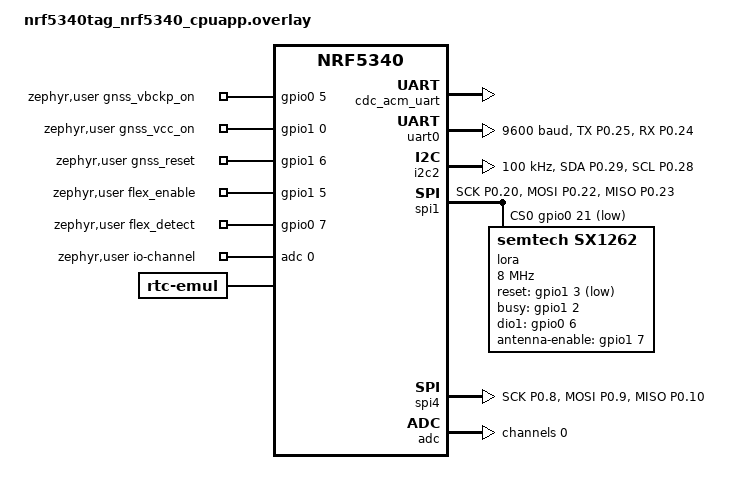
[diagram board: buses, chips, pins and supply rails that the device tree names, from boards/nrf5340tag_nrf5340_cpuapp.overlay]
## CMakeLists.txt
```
#
# Copyright (c) 2020 Nordic Semiconductor ASA
#
# SPDX-License-Identifier: LicenseRef-Nordic-5-Clause
#
cmake_minimum_required(VERSION 3.20.0)

find_package(Zephyr REQUIRED HINTS $ENV{ZEPHYR_BASE})

project(openthread_cli)

# NORDIC SDK APP START
target_sources(app PRIVATE  src/main.c 
                            src/utils.c
                            src/mqttsn.c
                            src/gpio.c
                            src/leds.c
                            src/nvs.c
                            src/flexstrap.c
                            src/acc.c
                            src/openthread_client.c
                            src/lorawan_client.c
                            src/gpsparser.c
                            src/minmea.c
                            src/app_bluetooth.c
                            src/bluetooth/lns_client.c)
# NORDIC SDK APP END

target_sources_ifdef(CONFIG_CLI_SAMPLE_LOW_POWER app PRIVATE src/low_power.c)
```

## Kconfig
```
#
# Copyright (c) 2020 Nordic Semiconductor ASA
#
# SPDX-License-Identifier: LicenseRef-Nordic-5-Clause
#

menu "Zephyr Kernel"
source "Kconfig.zephyr"
endmenu

# Configure OT CLI main

module = OT_COMMAND_LINE_INTERFACE
module-str = ot_cli
source "${ZEPHYR_BASE}/subsys/logging/Kconfig.template.log_config"

config CLI_SAMPLE_LOW_POWER
	bool "Enable low power mode for the CLI sample"

config WAIT_FOR_CLI_CONNECTION
	bool "Wait for a connection on USB/serial before booting"
	default y
	
# Configure MQTT-SN Client

module = MQTT_SNCLIENT
module-str = mqtt-snclient
source "${ZEPHYR_BASE}/subsys/logging/Kconfig.template.log_config"

config MQTT_SNCLIENT_TOPIC_PREFIX
	string "Topic Prefix for subscriptions/publications"
	help
		Topic Prefix for subscriptions/publications
	default "sensors"

config MQTT_SNCLIENT_PUBLISH_INTERVAL_S
	int "Publication interval in ms"
	default 10000

config MQTT_SNCLIENT_PORT
	int "MQTT-SN client UDP port"
	default 10000

config MQTT_SNCLIENT_PREFIX
	string "Prefix for client ID when connecting"
	default "tc-"

config MQTT_SNCLIENT_GATEWAY_PORT
	int "Target gateway multicast port"
	default 10000

config MQTT_SNCLIENT_GATEWAY_ADDRESS
	string  "Target gateway multicast address"
	default "ff03::1"

config MQTT_SNCLIENT_HOPS
	int "Max number of hops"
	default 8

# Configure Bluetooth LNS scanner

module = LNS_CLIENT
module-str = lns-client
source "${ZEPHYR_BASE}/subsys/logging/Kconfig.template.log_config"

# Configure Bluetooth Application code
module = APP_BLUETOOTH
module-str = app-bluetooth
source "${ZEPHYR_BASE}/subsys/logging/Kconfig.template.log_config"

# Deal with some OpenThread configuration problems
config OPENTHREAD_WORKING_PANID
	hex "Default PAN ID (config fix)"
	default 0x1234

# Configure GPS

module = GPS_PARSER
module-str = gps-parser
source "${ZEPHYR_BASE}/subsys/logging/Kconfig.template.log_config"

# Configure LoRaWAN Client

module = LORAWAN_CLIENT
module-str = lorawan-client
source "${ZEPHYR_BASE}/subsys/logging/Kconfig.template.log_config"

# Configure FlexStrap

config FLEXSTRAP_CONTROLS_POWER
	bool "Enable handling of FlexStrap to control whether we transmit or not"

config FLEXSTRAP_PULL_DOWN
	bool "Enable pull down on FlexStrap - for non FlexStrap enabled boards"
	default y

config FIRMWARE_REBOOT
	bool "Enable firmware reboot to ensure device stays up"
	
```

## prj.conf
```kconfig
#
# Copyright (c) 2020 Nordic Semiconductor
#
# SPDX-License-Identifier: LicenseRef-Nordic-5-Clause
#

# Network shell
CONFIG_SHELL=y
CONFIG_SHELL_ARGC_MAX=26
CONFIG_SHELL_CMD_BUFF_SIZE=416

CONFIG_NET_L2_OPENTHREAD=y

# Generic networking options
CONFIG_NETWORKING=y

CONFIG_MBEDTLS_SHA1_C=n
CONFIG_FPU=y

# Matter build not working...
#CONFIG_CHIP=y
#CONFIG_CHIP_LIB_SHELL=

# OpenThread

CONFIG_OPENTHREAD_SHELL=y

# Default mesh settings

# NOTE: We are using our own Kconfig for PAN ID as the Openthread
#       one seems to break with numbers that are too big like 0x4444
#       Maybe it's treating it as byte somewhere ???
CONFIG_OPENTHREAD_PANID=42104
CONFIG_OPENTHREAD_WORKING_PANID=0x4444
CONFIG_OPENTHREAD_XPANID="33:33:33:33:44:44:44:44"
CONFIG_OPENTHREAD_NETWORK_NAME="INST"
CONFIG_OPENTHREAD_NETWORKKEY="33:33:44:44:33:33:44:44:33:33:44:44:33:33:44:44"
CONFIG_OPENTHREAD_CHANNEL=15

# This needs to be false for the above settings to take effect inside OpenThread
# But then we seem to have problems with the PANID so instead use our own
# programmatic code in main.c which is called by setting this to 'y'
#CONFIG_OPENTHREAD_MANUAL_START=y

CONFIG_OPENTHREAD_UPTIME=y

# MQTT-SNCLIENT
CONFIG_MQTT_SNCLIENT_TOPIC_PREFIX="ot"

# Bluetooth ---

# NEED TO SET THIS UNIQUELY IN APPLICATION
CONFIG_BT_DEVICE_NAME="nRF528xx"

CONFIG_BT=y
#CONFIG_BT_DEBUG_LOG=y
CONFIG_BT_CENTRAL=y
CONFIG_BT_SMP=y
CONFIG_BT_GATT_CLIENT=y
CONFIG_BT_GATT_DM=y
CONFIG_HEAP_MEM_POOL_SIZE=4096
CONFIG_BT_BAS_CLIENT=n

CONFIG_BT_SCAN=y
CONFIG_BT_SCAN_FILTER_ENABLE=y
CONFIG_BT_SCAN_UUID_CNT=1
CONFIG_BT_PRIVACY=y

CONFIG_BT_SETTINGS=y
CONFIG_FLASH=y
CONFIG_FLASH_PAGE_LAYOUT=y
CONFIG_FLASH_MAP=y
CONFIG_NVS=y
CONFIG_SETTINGS=y

# For this to work in the app we need to increase the
# main stack size
CONFIG_MAIN_STACK_SIZE=4096

# End Bluetooth ---

# Drivers

# Support temperature sensor (not on nrf5340)
#CONFIG_NRFX_TEMP=y

# TODO: Support USB update without booting into DFU mode
#CONFIG_STREAM_FLASH=y
#CONFIG_IMG_MANAGER=y
#CONFIG_USB_DFU_CLASS=y
#CONFIG_USB_DFU_REBOOT=y

# Trying to sort out Multiprotocol
# (This breaks on v2.9.1)
#CONFIG_MPSL=y
#CONFIG_MPSL_ASSERT_HANDLER=y
#CONFIG_MPSL_LOG_LEVEL_DBG=y
#CONFIG_MPSL_WORK_STACK_SIZE=4096

# Logging
CONFIG_LOG=y
# Don't defer as when things break badly we want to have a chance
# of seeing errors...
CONFIG_LOG_PROCESS_THREAD=y
CONFIG_LOG_MODE_DEFERRED=n
#CONFIG_LOG_MAX_LEVEL=4
##CONFIG_OPENTHREAD_DEBUG=y
##CONFIG_OPENTHREAD_L2_DEBUG=y
#CONFIG_OPENTHREAD_LOG_LEVEL_WARN=y
##CONFIG_OPENTHREAD_LOG_LEVEL_DEBG=y

# Logging modules
CONFIG_OT_COMMAND_LINE_INTERFACE_LOG_LEVEL_INF=y
# CONFIG_MQTT_SNCLIENT_LOG_LEVEL_DBG=y
CONFIG_LNS_CLIENT_LOG_LEVEL_DBG=y

# Enable OpenThread features set
#CONFIG_OPENTHREAD_MTD=y
CONFIG_OPENTHREAD_FTD=y
#CONFIG_OPENTHREAD_SLAAC=y

# Minimise size
#CONFIG_NET_SOCKETS=n
#CONFIG_OPENTHREAD_SHELL=n
#CONFIG_COAP=n
#CONFIG_COAP_UTILS=n
#CONFIG_OPENTHREAD_COAP=n

#CONFIG_NRF_802154_SER_LOG=y

#CONFIG_ASSERT=y

#CONFIG_ISR_STACK_SIZE=4096
#CONFIG_IDLE_STACK_SIZE=1024
#CONFIG_BT_RX_STACK_SIZE=4096
#CONFIG_SHELL_STACK_SIZE=8192
#CONFIG_NET_RX_STACK_SIZE=4096
#CONFIG_NET_TX_STACK_SIZE=4096
#CONFIG_MPSL_WORK_STACK_SIZE=4096
#CONFIG_PRIVILEGED_STACK_SIZE=2048
CONFIG_SYSTEM_WORKQUEUE_STACK_SIZE=8192
#CONFIG_OPENTHREAD_RADIO_WORKQUEUE_STACK_SIZE=4096
#CONFIG_IPC_SERVICE_BACKEND_RPMSG_WQ_STACK_SIZE=2048

# Wait for serial console or start up straight away
CONFIG_WAIT_FOR_CLI_CONNECTION=n

# Enable multithread support in gdb
CONFIG_DEBUG=y
CONFIG_THREAD_MONITOR=y
CONFIG_THREAD_STACK_INFO=y
CONFIG_TIMESLICING=n
CONFIG_THREAD_NAME=y
CONFIG_DEBUG_THREAD_INFO=y
CONFIG_OPENTHREAD_SOURCES=y

# Enable asserts
#CONFIG_ASSERT=y
#CONFIG_ASSERT_NO_COND_INFO=y

# Bluetooth
#CONFIG_APP_BLUETOOTH_LOG_LEVEL_DBG=y
#CONFIG_BT_SCAN_LOG_LEVEL_DBG=y
#CONFIG_BT_HCI_CORE_LOG_LEVEL_DBG=y
CONFIG_BT_EXT_ADV=y
CONFIG_BT_RX_STACK_SIZE=4096

# This causes a build failure with v2.9.1
#CONFIG_BT_HCI_TX_STACK_SIZE=4096
CONFIG_BT_HCI_ACL_FLOW_CONTROL=y
#CONFIG_NET_BUF_LOG=y
#CONFIG_NET_BUF_LOG_LEVEL_DBG=y
#CONFIG_NET_BUF_SIMPLE_LOG=y
#CONFIG_NET_BUF_POOL_USAGE=y

# LORA 
CONFIG_SPI=y
CONFIG_LORA=y
CONFIG_LORA_SHELL=y
CONFIG_LORAWAN=y
CONFIG_LORA_SX126X=y
CONFIG_LORAMAC_REGION_EU868=y
CONFIG_MPU_ALLOW_FLASH_WRITE=y

# LoRaWAN Debugging
#CONFIG_LORA_LOG_LEVEL_DBG=y
#CONFIG_LORAWAN_LOG_LEVEL_DBG=y
CONFIG_LORAWAN_CLIENT_LOG_LEVEL_DBG=y

# GPS
#CONFIG_GPS_PARSER_LOG_LEVEL_DBG=y

# Accelerometer (needs v2.9.1)
#CONFIG_SENSOR=y
#CONFIG_SENSOR_LOG_LEVEL_DBG=y
#CONFIG_LSM6DSO16IS=y
#CONFIG_CBPRINTF_FP_SUPPORT=y

# I2C analysis support
CONFIG_I2C=y
CONFIG_I2C_LOG_LEVEL_DBG=y
CONFIG_I2C_SHELL=y

# ADC analysis support
CONFIG_ADC=y
CONFIG_ADC_LOG_LEVEL_DBG=y
CONFIG_ADC_SHELL=y

# Regulator analysis support
#CONFIG_REGULATOR=y
#CONFIG_REGULATOR_LOG_LEVEL_DBG=y
#CONFIG_REGULATOR_SHELL=y

# GPIO analysis support
#CONFIG_GPIO=y
#CONFIG_GPIO_LOG_LEVEL_DBG=y
#CONFIG_GPIO_SHELL=y

# LED analysis support
CONFIG_LED=y
#CONFIG_LED_LOG_LEVEL_DBG=y
#CONFIG_LED_SHELL=y

# Handle FlexStrap Reading
CONFIG_FLEXSTRAP_CONTROLS_POWER=y
CONFIG_FLEXSTRAP_PULL_DOWN=y

# Reboot device for reliability
CONFIG_FIRMWARE_REBOOT=y

# Disable UART logging backend
#CONFIG_UART_CONSOLE=n
#CONFIG_SHELL_LOG_BACKEND=n

# Debugging Logging Back End
#CONFIG_LOG_BACKEND_RTT=y
#CONFIG_USE_SEGGER_RTT=y

# USB output (debugging
CONFIG_SHELL_BACKEND_SERIAL_INIT_PRIORITY=51
CONFIG_UART_LINE_CTRL=y
CONFIG_SHELL_BACKEND_SERIAL_CHECK_DTR=y
CONFIG_USB_CDC_ACM_LOG_LEVEL_OFF=y
CONFIG_USB_DEVICE_STACK=y
CONFIG_USB_DEVICE_REMOTE_WAKEUP=n
CONFIG_USB_DEVICE_MANUFACTURER="Dynamic Devices Ltd"
CONFIG_USB_DEVICE_PRODUCT="INST TAG"
CONFIG_USB_DEVICE_VID=0x1915
CONFIG_USB_DEVICE_PID=0x0000
CONFIG_USB_DEVICE_INITIALIZE_AT_BOOT=n

CONFIG_RTC=y
CONFIG_RTC_EMUL=y
```

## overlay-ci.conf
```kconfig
#
# Copyright (c) 2022 Nordic Semiconductor
#
# SPDX-License-Identifier: LicenseRef-Nordic-5-Clause
#

# Disable boot banner
CONFIG_BOOT_BANNER=n

# Shell configuration for CI
CONFIG_SHELL_PROMPT_UART="tag:~$ "
CONFIG_SHELL_VT100_COLORS=y
CONFIG_SHELL_DEFAULT_TERMINAL_WIDTH=618
```

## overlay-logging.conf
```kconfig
#
# Copyright (c) 2021 Nordic Semiconductor
#
# SPDX-License-Identifier: LicenseRef-Nordic-5-Clause
# Enable Zephyr logging
CONFIG_LOG=y

# Use separate thread for logging
CONFIG_LOG_MODE_DEFERRED=y

# Increase max log level to informative
CONFIG_LOG_MAX_LEVEL=3

# Option for configuring log level in this sample
CONFIG_OT_COMMAND_LINE_INTERFACE_LOG_LEVEL_INF=y

# Enable net module logging
# CONFIG_NET_LOG=y
# Option for configuring log level in net config library
# CONFIG_NET_CONFIG_LOG_LEVEL_INF=y

# Option for configuring log level in Zephyr L2 logging
# CONFIG_OPENTHREAD_L2_DEBUG=y
# CONFIG_OPENTHREAD_L2_LOG_LEVEL_DBG=y
# CONFIG_OPENTHREAD_L2_DEBUG_DUMP_15_4=y
# CONFIG_OPENTHREAD_L2_DEBUG_DUMP_IPV6=y

# Enable OpenThread logging
CONFIG_OPENTHREAD_DEBUG=y
# Option for configuring log level in OpenThread
CONFIG_OPENTHREAD_LOG_LEVEL_INFO=y

# Enable RTT logging backend
CONFIG_USE_SEGGER_RTT=y
CONFIG_LOG_BACKEND_RTT=y

# Disable UART logging backend
# CONFIG_LOG_BACKEND_UART=n
CONFIG_SHELL_LOG_BACKEND=n

OPENTHREAD_CONFIG_MQTTSN_ENABLE=y
```

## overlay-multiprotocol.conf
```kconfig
#
# Copyright (c) 2022 Nordic Semiconductor
#
# SPDX-License-Identifier: LicenseRef-Nordic-5-Clause
#

CONFIG_SYSTEM_WORKQUEUE_STACK_SIZE=2144
#CONFIG_SYSTEM_WORKQUEUE_STACK_SIZE=4096

# Enable and configure Bluetooth LE
CONFIG_BT=y
CONFIG_BT_PERIPHERAL=y
#CONFIG_BT_DEVICE_NAME="NCS DUT"
CONFIG_BT_DEVICE_APPEARANCE=833
```

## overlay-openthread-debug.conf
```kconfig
#
# Copyright (c) 2022 Nordic Semiconductor
#
# SPDX-License-Identifier: LicenseRef-Nordic-5-Clause
#

CONFIG_LOG=y 
CONFIG_OPENTHREAD_DEBUG=y
CONFIG_OPENTHREAD_LOG_LEVEL_INFO=y
```

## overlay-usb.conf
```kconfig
#
# Copyright (c) 2021 Nordic Semiconductor
#
# SPDX-License-Identifier: LicenseRef-Nordic-5-Clause
#

CONFIG_SHELL_BACKEND_SERIAL_INIT_PRIORITY=51

CONFIG_UART_LINE_CTRL=y
CONFIG_SHELL_BACKEND_SERIAL_CHECK_DTR=y
CONFIG_USB_CDC_ACM_LOG_LEVEL_OFF=y

CONFIG_USB_DEVICE_STACK=y
CONFIG_USB_DEVICE_REMOTE_WAKEUP=n
CONFIG_USB_DEVICE_MANUFACTURER="Nordic Semiconductor ASA"
CONFIG_USB_DEVICE_PRODUCT="INST TAG"
CONFIG_USB_DEVICE_VID=0x1915
CONFIG_USB_DEVICE_PID=0x0000
CONFIG_USB_DEVICE_INITIALIZE_AT_BOOT=n
```

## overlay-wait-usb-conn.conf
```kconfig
#
# Copyright (c) 2022 Nordic Semiconductor
#
# SPDX-License-Identifier: LicenseRef-Nordic-5-Clause
#

# This waits until a USB connection is established
# before starting up which is useful for debugging
# but not wanted for field testing
CONFIG_WAIT_FOR_CLI_CONNECTION=y
```

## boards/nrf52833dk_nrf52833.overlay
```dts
/* Copyright (c) 2020 Nordic Semiconductor ASA
 *
 * SPDX-License-Identifier: LicenseRef-Nordic-5-Clause
 */

&temp {
    status = "okay";
};

&uart0 {
	status = "okay";
	hw-flow-control;
};

&flash0 {

	partitions {
		compatible = "fixed-partitions";
		#address-cells = <1>;
		#size-cells = <1>;

		storage_partition: partition@7a000 {
			label = "storage";
			reg = <0x0007C000 0x4000>;
		};
	};
};
```

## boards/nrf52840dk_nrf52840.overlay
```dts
/* Copyright (c) 2020 Nordic Semiconductor ASA
 *
 * SPDX-License-Identifier: LicenseRef-Nordic-5-Clause
 */

&temp {
    status = "okay";
};

&uart0 {
	status = "okay";
	hw-flow-control;
};

/ {
	/*
	* In some default configurations within the nRF Connect SDK,
	* e.g. on nRF52840, the chosen zephyr,entropy node is &cryptocell.
	* This devicetree overlay ensures that default is overridden wherever it
	* is set, as this application uses the RNG node for entropy exclusively.
	*/
	chosen {
		zephyr,entropy = &rng;
	};
};
```

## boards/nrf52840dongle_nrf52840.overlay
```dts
/* Copyright (c) 2021 Nordic Semiconductor ASA
 *
 * SPDX-License-Identifier: LicenseRef-Nordic-5-Clause
 */

 #include <zephyr/dt-bindings/lora/sx126x.h>

&temp {
    status = "okay";
};

/ {
	/*
	* In some default configurations within the nRF Connect SDK,
	* e.g. on nRF52840, the chosen zephyr,entropy node is &cryptocell.
	* This devicetree overlay ensures that default is overridden wherever it
	* is set, as this application uses the RNG node for entropy exclusively.
	*/
	chosen {
		zephyr,entropy = &rng;
	};

	aliases {
		lora0 = &lora;
	};
};

&pinctrl {

	uart1_default: uart1_default {
		group1 {
			psels = <NRF_PSEL(UART_TX, 0, 9)>;
		};
		group2 {
			psels = <NRF_PSEL(UART_RX, 0, 10)>;
		};
	};

	uart1_sleep: uart1_sleep {
		group1 {
			psels = <NRF_PSEL(UART_TX, 0, 9)>,
				<NRF_PSEL(UART_RX, 0, 10)>;
		};
	};

	spi1_default: spi1_default {
		group1 {
			psels = <NRF_PSEL(SPIM_SCK, 0, 31)>,
				<NRF_PSEL(SPIM_MOSI, 0, 02)>,
				<NRF_PSEL(SPIM_MISO, 0, 29)>;
		};
	};

	spi1_sleep: spi1_sleep {
		group1 {
			psels = <NRF_PSEL(SPIM_SCK, 0, 31)>,
				<NRF_PSEL(SPIM_MOSI, 0, 02)>,
				<NRF_PSEL(SPIM_MISO, 0, 29)>;
		};
	};
};

&uart0 {
		status = "okay";
		hw-flow-control;
};
	
&uart1 {
	status = "okay";
	current-speed = <9600>;
	pinctrl-0 = <&uart1_default>;
	pinctrl-1 = <&uart1_sleep>;
	pinctrl-names = "default", "sleep";
};	

&spi1 {
	compatible = "nordic,nrf-spim";
	status = "okay";
	cs-gpios = <&gpio1 15 GPIO_ACTIVE_LOW>;

	pinctrl-0 = <&spi1_default>;
	pinctrl-1 = <&spi1_sleep>;
	pinctrl-names = "default", "sleep";
	lora: lora@0 {
		compatible = "semtech,sx1262";
		reg = <0>;
		reset-gpios = <&gpio1 1 GPIO_ACTIVE_LOW>;
		busy-gpios = <&gpio0 17 GPIO_ACTIVE_HIGH>;
		tx-enable-gpios = <&gpio0 22 (GPIO_PULL_DOWN | GPIO_ACTIVE_HIGH)>;
		rx-enable-gpios = <&gpio0 20 (GPIO_PULL_DOWN | GPIO_ACTIVE_HIGH)>;
		dio1-gpios = <&gpio0 15 (GPIO_PULL_DOWN | GPIO_ACTIVE_HIGH) >;
		spi-max-frequency = <125000>;
	};
};
```

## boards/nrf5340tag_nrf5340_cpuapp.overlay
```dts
/* Copyright (c) 2021 Nordic Semiconductor ASA
 *
 * SPDX-License-Identifier: LicenseRef-Nordic-5-Clause
 */

 #include <zephyr/dt-bindings/lora/sx126x.h>

//&temp {
//    status = "okay";
//};

/ {
	/*
	* In some default configurations within the nRF Connect SDK,
	* e.g. on nRF52840, the chosen zephyr,entropy node is &cryptocell.
	* This devicetree overlay ensures that default is overridden wherever it
	* is set, as this application uses the RNG node for entropy exclusively.
	*/
//	chosen {
//		zephyr,entropy = &rng;
//	};

	chosen {
		zephyr,shell-uart = &cdc_acm_uart;
	};

	aliases {
		lora0 = &lora;
		i2c2 = &i2c2;
	};

	zephyr,user {

		// GNSS
		gnss_vbckp_on-gpios = <&gpio0 5 0>;
		gnss_vcc_on-gpios = <&gpio1 0 0>;
		gnss_reset-gpios = <&gpio1 6 0>;

		// ADC
		flex_enable-gpios = <&gpio1 5 0>;
		io-channels = <&adc 0>;

		// GPIO
		flex_detect-gpios = <&gpio0 7 0>;
	};

	rtc-emul {
		compatible = "zephyr,rtc-emul";
		status = "okay";
		alarms-count = < 0 >;
	};
};

&pinctrl {

	// GNSS is on UART0
	uart0_default: uart0_default {
		group1 {
			psels = <NRF_PSEL(UART_TX, 0, 25)>;
					// <NRF_PSEL(UART_RTS, 0, 19)>;
		};
		group2 {
			psels = <NRF_PSEL(UART_RX, 0, 24)>;
					// <NRF_PSEL(UART_CTS, 0, 21)>;
		};
	};

	uart0_sleep: uart0_sleep {
		group1 {
			psels = <NRF_PSEL(UART_TX, 0, 25)>,
					<NRF_PSEL(UART_RX, 0, 24)>;
					// <NRF_PSEL(UART_RTS, 0, 19)>,
					// <NRF_PSEL(UART_CTS, 0, 21)>;
			low-power-enable;
		};
	};

	// LoRa is on SPI1

	spi1_default: spi1_default {
		group1 {
			psels = <NRF_PSEL(SPIM_SCK, 0, 20)>,
					<NRF_PSEL(SPIM_MOSI, 0, 22)>,
					<NRF_PSEL(SPIM_MISO, 0, 23)>;
		};
	};

	spi1_sleep: spi1_sleep {
		group1 {
			psels = <NRF_PSEL(SPIM_SCK, 0, 20)>,
					<NRF_PSEL(SPIM_MOSI, 0, 22)>,
					<NRF_PSEL(SPIM_MISO, 0, 23)>;
			low-power-enable;
		};
	};

	// UWB is on SPI4

	spi4_default: spi4_default {
		group1 {
			psels = <NRF_PSEL(SPIM_SCK, 0, 8)>,
					<NRF_PSEL(SPIM_MOSI, 0, 9)>,
					<NRF_PSEL(SPIM_MISO, 0, 10)>;
		};
	};

	spi4_sleep: spi4_sleep {
		group1 {
			psels = <NRF_PSEL(SPIM_SCK, 0, 8)>,
					<NRF_PSEL(SPIM_MOSI, 0, 9)>,
					<NRF_PSEL(SPIM_MISO, 0, 10)>;
			low-power-enable;
		};
	};

	// NOTE: Need to add in interrupts

	// LED I2C bus
	i2c2_rgb_default: i2c2_rgb_default {
		group1 {
			psels = <NRF_PSEL(TWIM_SDA, 0, 29)>,
				<NRF_PSEL(TWIM_SCL, 0, 28)>;
		};
	};

	i2c2_rgb_sleep: i2c2_rgb_sleep {
		group1 {
			psels = <NRF_PSEL(TWIM_SDA, 0, 29)>,
				<NRF_PSEL(TWIM_SCL, 0, 28)>;
			low-power-enable;
		};
	};

	// ACCELEROMETER is on I2C2

	i2c2_acc_default: i2c2_acc_default {
		group1 {
			psels = <NRF_PSEL(TWIM_SDA, 0, 30)>,
				<NRF_PSEL(TWIM_SCL, 0, 31)>;
		};
	};

	i2c2_acc_sleep: i2c2_acc_sleep {
		group1 {
			psels = <NRF_PSEL(TWIM_SDA, 0, 30)>,
				<NRF_PSEL(TWIM_SCL, 0, 31)>;
			low-power-enable;
		};
	};

};

// NOTE: We need to disable components we aren't using as they share resources

// USB UART

&zephyr_udc0 {
	cdc_acm_uart: cdc_acm_uart {
		compatible = "zephyr,cdc-acm-uart";
	};
};

// GPS

&uart0 {
	status = "okay";
	current-speed = <9600>;
	pinctrl-0 = <&uart0_default>;
	pinctrl-1 = <&uart0_sleep>;
	pinctrl-names = "default", "sleep";
};	

&uart1 {
	status = "disabled";
};

&uart2 {
	status = "disabled";
};
	
// NOTE: We need to disable components we aren't using as they share resources

&i2c0 {
	status = "disabled";
};

&i2c1 {
	status = "disabled";
};

// Support for accelerometer

/*

&i2c2 {
	compatible = "nordic,nrf-twim";
	status = "okay";
	pinctrl-0 = <&i2c2_acc_default>;
	pinctrl-1 = <&i2c2_acc_sleep>;
	pinctrl-names = "default", "sleep";
	clock-frequency = <100000>;	

//	lsm6dso16is: lsm6dso16is@6a {
//		compatible = "st,lsm6dso16is";
//		status = "okay";
//		reg = <0x6a>;
////		irq-gpios = <&gpiof 3 GPIO_ACTIVE_HIGH>;
//	};
};

*/

// RGB LED

&i2c2 {
	compatible = "nordic,nrf-twim";
	status = "okay";
	pinctrl-0 = <&i2c2_rgb_default>;
	pinctrl-1 = <&i2c2_rgb_sleep>;
	pinctrl-names = "default", "sleep";
	clock-frequency = <100000>;	
};

// We need to disable components we aren't using as they share resources

&spi0 {
	status = "disabled";
};

// LORA

&spi1 {
	compatible = "nordic,nrf-spim";
	status = "okay";
	cs-gpios = <&gpio0 21 GPIO_ACTIVE_LOW>;

	pinctrl-0 = <&spi1_default>;
	pinctrl-1 = <&spi1_sleep>;
	pinctrl-names = "default", "sleep";
	lora: lora@0 {
		compatible = "semtech,sx1262";
		reg = <0>;
		reset-gpios = <&gpio1 3 GPIO_ACTIVE_LOW>;
		busy-gpios = <&gpio1 2 GPIO_ACTIVE_HIGH>;
//		tx-enable-gpios = <&gpio0 25 (GPIO_PULL_DOWN | GPIO_ACTIVE_HIGH)>;
//		rx-enable-gpios = <&gpio0 24 (GPIO_PULL_DOWN | GPIO_ACTIVE_HIGH)>;
		dio1-gpios = <&gpio0 6 (GPIO_PULL_DOWN | GPIO_ACTIVE_HIGH) >;
        antenna-enable-gpios = <&gpio1 7 (GPIO_PULL_DOWN | GPIO_ACTIVE_HIGH)>;
		spi-max-frequency = <8000000>;
	};
};

&spi2 {
	status = "disabled";
};

&spi4 {
	compatible = "nordic,nrf-spim";
	status = "okay";
	cs-gpios = <&gpio0 11 GPIO_ACTIVE_LOW>;

	pinctrl-0 = <&spi4_default>;
	pinctrl-1 = <&spi4_sleep>;
	pinctrl-names = "default", "sleep";
};

&gpio_fwd {
	uart {
		gpios = <&gpio0 11 0>;
	};
};

&adc {
	#address-cells = <1>;
	#size-cells = <0>;
	status = "okay";
	channel@0 {
		reg = <0>;
		zephyr,gain = "ADC_GAIN_1_3";
		zephyr,reference = "ADC_REF_INTERNAL";
		zephyr,acquisition-time = <ADC_ACQ_TIME_DEFAULT>;
		zephyr,input-positive = <NRF_SAADC_AIN0>; /* P0.02 for nRF52xx, P0.04 for nRF5340 */
		zephyr,resolution = <12>;
	};
};
```

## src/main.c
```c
/*
 * Copyright (c) 2020 Nordic Semiconductor ASA
 *
 * SPDX-License-Identifier: LicenseRef-Nordic-5-Clause
 */

// Includes

#include <stdio.h>

#include <ncs_version.h>

#include <zephyr/drivers/uart.h>
#include <zephyr/usb/usb_device.h>
#include <zephyr/drivers/lora.h>
#include <zephyr/drivers/adc.h>
#include <zephyr/sys/reboot.h>
#include <zephyr/drivers/gpio.h>

#include <openthread/platform/logging.h>
#include "openthread/instance.h"
#include "openthread/thread.h"

#include <zephyr/drivers/i2c.h>

#ifdef CONFIG_NRFX_TEMP
#include "nrfx_temp.h"
#endif

#include "utils.h"
#include "mqttsn.h"
#include "app.h"
#include "app_bluetooth.h"
#include "gpio.h"
#include "leds.h"

#if defined(CONFIG_CLI_SAMPLE_LOW_POWER)
#include "low_power.h"
#endif

// Definitions

#define MAX_DATA_LEN 255

LOG_MODULE_REGISTER(cli_main, CONFIG_OT_COMMAND_LINE_INTERFACE_LOG_LEVEL);

#define WELCOME_TEXT \
	"\r\n"\
	"*********************************************\r\n" \
    "Starting INST CLI build: " __DATE__ " " __TIME__ "\r\n"\
	"NCS stack: " NCS_VERSION_STRING "\r\n"\

// Statics

// Functions

// Main Function

int main(int aArgc, char *aArgv[])
{
#if DT_NODE_HAS_COMPAT(DT_CHOSEN(zephyr_shell_uart), zephyr_cdc_acm_uart)
	int ret;
	const struct device *dev;
//	uint32_t dtr = 0U;

	ret = usb_enable(NULL);
	if (ret != 0) {
		LOG_ERR("Failed to enable USB");
		return 0;
	}

	dev = DEVICE_DT_GET(DT_CHOSEN(zephyr_shell_uart));
	if (dev == NULL) {
		LOG_ERR("Failed to find specific UART device");
		return 0;
	}

#if defined(CONFIG_WAIT_FOR_CLI_CONNECTION)
	LOG_INF("Waiting for host to be ready to communicate");

	/* Data Terminal Ready - check if host is ready to communicate */
	while (!dtr) {
		ret = uart_line_ctrl_get(dev, UART_LINE_CTRL_DTR, &dtr);
		if (ret) {
			LOG_ERR("Failed to get Data Terminal Ready line state: %d",
				ret);
			continue;
		}
		k_msleep(100);
	}
#endif

	/* Data Carrier Detect Modem - mark connection as established */
	(void)uart_line_ctrl_set(dev, UART_LINE_CTRL_DCD, 1);
	/* Data Set Ready - the NCP SoC is ready to communicate */
	(void)uart_line_ctrl_set(dev, UART_LINE_CTRL_DSR, 1);
#endif

	LOG_INF(WELCOME_TEXT);

	// Initialize the LED
	ledInit();
	
	// Do a quick test cycle
	ledTest();

	// Start Bluetooth
// CHECK LOCKUP
//    appbluetoothInit();

	// Start MQTT-SN client
//	mqttsnInit();

    return 0;
}

void mpsl_assert_handle(const char * const file, const uint32_t line)
{
	ledBlink(RED, LED_BLINK_FAST, DUTY_10_PERCENT, 0);

	sys_reboot(SYS_REBOOT_COLD);
}
```

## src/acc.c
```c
// Includes

#include <stdio.h>
#include <stdbool.h>

#include "flexstrap.h"

#include <zephyr/kernel.h>
#include <zephyr/device.h>
#include <zephyr/drivers/sensor.h>
#include <zephyr/logging/log.h>
#include <zephyr/drivers/i2c.h>
#include <zephyr/drivers/adc.h>
#include <zephyr/drivers/gpio.h>

// Defines

LOG_MODULE_REGISTER(accelerometer, 4);

#if 0 // ACC

	// Test IMS
//	const struct device *const acc_dev = DEVICE_DT_GET_ONE(lsm6dso16is);

//	if (!device_is_ready(acc_dev)) {
//		printk("%s: device not ready.\n", acc_dev->name);
//		return 0;
//	}
#ifdef CONFIG_LSM6DSO_TRIGGER
	printf("Testing LSM6DSO sensor in trigger mode.\n\n");
	test_trigger_mode(acc_dev);
#else
	printf("Testing LSM6DSO sensor in polling mode.\n\n");
//	test_polling_mode(acc_dev);
#endif

//	k_sleep(K_MSEC(5000));
//	sys_reboot(SYS_REBOOT_COLD);
	
#endif // ACC

#if 0


static inline float out_ev(struct sensor_value *val)
{
	return (val->val1 + (float)val->val2 / 1000000);
}

static void fetch_and_display(const struct device *dev)
{
	struct sensor_value x, y, z;
	static int trig_cnt;

	trig_cnt++;

	/* lsm6dso accel */
	sensor_sample_fetch_chan(dev, SENSOR_CHAN_ACCEL_XYZ);
	sensor_channel_get(dev, SENSOR_CHAN_ACCEL_X, &x);
	sensor_channel_get(dev, SENSOR_CHAN_ACCEL_Y, &y);
	sensor_channel_get(dev, SENSOR_CHAN_ACCEL_Z, &z);

	LOG_INF("accel x:%f ms/2 y:%f ms/2 z:%f ms/2\n",
			(double)out_ev(&x), (double)out_ev(&y), (double)out_ev(&z));

	/* lsm6dso gyro */
	sensor_sample_fetch_chan(dev, SENSOR_CHAN_GYRO_XYZ);
	sensor_channel_get(dev, SENSOR_CHAN_GYRO_X, &x);
	sensor_channel_get(dev, SENSOR_CHAN_GYRO_Y, &y);
	sensor_channel_get(dev, SENSOR_CHAN_GYRO_Z, &z);

	LOG_INF("gyro x:%f rad/s y:%f rad/s z:%f rad/s\n",
			(double)out_ev(&x), (double)out_ev(&y), (double)out_ev(&z));

	LOG_INF("trig_cnt:%d\n\n", trig_cnt);
}

static int set_sampling_freq(const struct device *dev)
{
	int ret = 0;
	struct sensor_value odr_attr;

	/* set accel/gyro sampling frequency to 12.5 Hz */
	odr_attr.val1 = 12.5;
	odr_attr.val2 = 0;

	ret = sensor_attr_set(dev, SENSOR_CHAN_ACCEL_XYZ,
			SENSOR_ATTR_SAMPLING_FREQUENCY, &odr_attr);
	if (ret != 0) {
		LOG_ERR("Cannot set sampling frequency for accelerometer.\n");
		return ret;
	}

	ret = sensor_attr_set(dev, SENSOR_CHAN_GYRO_XYZ,
			SENSOR_ATTR_SAMPLING_FREQUENCY, &odr_attr);
	if (ret != 0) {
		LOG_ERR("Cannot set sampling frequency for gyro.\n");
		return ret;
	}

	return 0;
}

#ifdef CONFIG_LSM6DSO_TRIGGER
static void trigger_handler(const struct device *dev,
			    const struct sensor_trigger *trig)
{
	fetch_and_display(dev);
}

static void test_trigger_mode(const struct device *dev)
{
	struct sensor_trigger trig;

	if (set_sampling_freq(dev) != 0) {
		return;
	}

	trig.type = SENSOR_TRIG_DATA_READY;
	trig.chan = SENSOR_CHAN_ACCEL_XYZ;

	if (sensor_trigger_set(dev, &trig, trigger_handler) != 0) {
		LOG_ERR("Could not set sensor type and channel\n");
		return;
	}
}

#else
static void test_polling_mode(const struct device *dev)
{
	if (set_sampling_freq(dev) != 0) {
		return;
	}

	while (1) {
		fetch_and_display(dev);
		k_sleep(K_MSEC(1000));
	}
}
#endif

#endif // ACC
```

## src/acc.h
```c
#ifndef ACC_H_
#define ACC_H_

// Includes

#include <stdio.h>
#include <stdint.h>

// Defines

// Enumerations

// Functions

#endif
```

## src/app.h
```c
#ifndef APP_H
#define APP_H

#define VERSION 1

extern int32_t whole_celsius;
extern uint8_t fraction_celsius;

#endif
```

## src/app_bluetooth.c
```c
#if 0

// Includes

#include "app_bluetooth.h"

#include <zephyr/logging/log.h>
#include <zephyr/settings/settings.h>

#include <zephyr/bluetooth/bluetooth.h>
#include <zephyr/bluetooth/hci.h>
#include <zephyr/bluetooth/conn.h>
#include <zephyr/bluetooth/uuid.h>
#include <zephyr/bluetooth/gatt.h>

#include <bluetooth/gatt_dm.h>
#include <bluetooth/scan.h>
#include "bluetooth/lns_client.h"

// Definitions

// Statics

LOG_MODULE_REGISTER(app_bluetooth, CONFIG_APP_BLUETOOTH_LOG_LEVEL);

static struct bt_conn *default_conn;
static struct bt_lns_client lns;

// Prototypes

// Bluetooth code

struct bt_lns_client *getLNSClient()
{
	return &lns;
}

static void notify_location_and_speed_cb(struct bt_lns_client *lns,
				    struct ble_lns_loc_speed_s *lns_data);

static void scan_filter_match(struct bt_scan_device_info *device_info,
			      struct bt_scan_filter_match *filter_match,
			      bool connectable)
{
	char addr[BT_ADDR_LE_STR_LEN];

	bt_addr_le_to_str(device_info->recv_info->addr, addr, sizeof(addr));

	LOG_INF("Filters matched. Address: %s connectable: %s",
		addr, connectable ? "yes" : "no");
}

static void scan_connecting_error(struct bt_scan_device_info *device_info)
{
	LOG_WRN("Connecting failed");
}

static void scan_connecting(struct bt_scan_device_info *device_info,
			    struct bt_conn *conn)
{
	default_conn = bt_conn_ref(conn);
}

static void scan_filter_no_match(struct bt_scan_device_info *device_info,
				 bool connectable)
{
	int err;
	struct bt_conn *conn;
	char addr[BT_ADDR_LE_STR_LEN];

	if (device_info->recv_info->adv_type == BT_GAP_ADV_TYPE_ADV_DIRECT_IND) {
		bt_addr_le_to_str(device_info->recv_info->addr, addr,
				  sizeof(addr));
		LOG_INF("Direct advertising received from %s", addr);
		bt_scan_stop();

		err = bt_conn_le_create(device_info->recv_info->addr,
					BT_CONN_LE_CREATE_CONN,
					device_info->conn_param, &conn);

		if (!err) {
			default_conn = bt_conn_ref(conn);
			bt_conn_unref(conn);
		}
	}
}

BT_SCAN_CB_INIT(scan_cb, scan_filter_match, scan_filter_no_match,
		scan_connecting_error, scan_connecting);

static void discovery_completed_cb(struct bt_gatt_dm *dm,
				   void *context)
{
	int err;

	LOG_INF("The discovery procedure succeeded");

	bt_gatt_dm_data_print(dm);

	err = bt_lns_handles_assign(dm, &lns);
	if (err) {
		LOG_WRN("Could not init LNS client object, error: %d", err);
	}

	if (bt_lns_notify_supported(&lns)) {
		err = bt_lns_subscribe_location_and_speed(&lns,
						     notify_location_and_speed_cb);
		if (err) {
			LOG_WRN("Cannot subscribe to LNS value notification "
				"(err: %d)", err);
			/* Continue anyway */
		}
	} else {
		err = bt_lns_start_per_read_location_and_speed(
			&lns, LNS_READ_VALUE_INTERVAL, notify_location_and_speed_cb);
		if (err) {
			LOG_WRN("Could not start periodic read of LNS value");
		}
	}

	err = bt_gatt_dm_data_release(dm);
	if (err) {
		LOG_WRN("Could not release the discovery data, error "
		       "code: %d", err);
	}
}

static void discovery_service_not_found_cb(struct bt_conn *conn,
					   void *context)
{
	LOG_WRN("The service could not be found during the discovery");
}

static void discovery_error_found_cb(struct bt_conn *conn,
				     int err,
				     void *context)
{
	LOG_WRN("The discovery procedure failed with %d", err);
}

static struct bt_gatt_dm_cb discovery_cb = {
	.completed = discovery_completed_cb,
	.service_not_found = discovery_service_not_found_cb,
	.error_found = discovery_error_found_cb,
};

static void gatt_discover(struct bt_conn *conn)
{
	int err;

	if (conn != default_conn) {
		return;
	}

	err = bt_gatt_dm_start(conn, BT_UUID_LNS, &discovery_cb, NULL);
	if (err) {
		LOG_WRN("Could not start the discovery procedure, error "
		       "code: %d", err);
	}
}

static void connected(struct bt_conn *conn, uint8_t conn_err)
{
	int err;
	char addr[BT_ADDR_LE_STR_LEN];

	bt_addr_le_to_str(bt_conn_get_dst(conn), addr, sizeof(addr));

	if (conn_err) {
		LOG_WRN("Failed to connect to %s (%u)", addr, conn_err);
		if (conn == default_conn) {
			bt_conn_unref(default_conn);
			default_conn = NULL;

			/* This demo doesn't require active scan */
			err = bt_scan_start(BT_SCAN_TYPE_SCAN_ACTIVE);
			if (err) {
				LOG_WRN("Scanning failed to start (err %d)",
				       err);
			}
		}

		return;
	}

	err = bt_conn_set_security(conn, BT_SECURITY_L2);
	if (err) {
		LOG_WRN("Failed to set security: %d", err);

		gatt_discover(conn);
	}
}

static void disconnected(struct bt_conn *conn, uint8_t reason)
{
	char addr[BT_ADDR_LE_STR_LEN];
	int err;

	bt_addr_le_to_str(bt_conn_get_dst(conn), addr, sizeof(addr));

	LOG_WRN("Disconnected: %s (reason %u)", addr, reason);

	if (default_conn != conn) {
		return;
	}

	bt_conn_unref(default_conn);
	default_conn = NULL;

	/* This demo doesn't require active scan */
	err = bt_scan_start(BT_SCAN_TYPE_SCAN_ACTIVE);
	if (err) {
		LOG_WRN("Scanning failed to start (err %d)", err);
	}
}

static void security_changed(struct bt_conn *conn, bt_security_t level,
			     enum bt_security_err err)
{
	char addr[BT_ADDR_LE_STR_LEN];

	bt_addr_le_to_str(bt_conn_get_dst(conn), addr, sizeof(addr));

	if (!err) {
		LOG_WRN("Security changed: %s level %u", addr, level);
	} else {
		LOG_WRN("Security failed: %s level %u err %d", addr, level,
			err);
	}

	gatt_discover(conn);
}

BT_CONN_CB_DEFINE(conn_callbacks) = {
	.connected = connected,
	.disconnected = disconnected,
	.security_changed = security_changed
};

static void scan_init(void)
{
	int err;

	struct bt_scan_init_param scan_init = {
		.connect_if_match = 1,
		.scan_param = NULL,
		.conn_param = BT_LE_CONN_PARAM_DEFAULT
	};

	bt_scan_init(&scan_init);
	bt_scan_cb_register(&scan_cb);

	err = bt_scan_filter_add(BT_SCAN_FILTER_TYPE_UUID, BT_UUID_LNS);
	if (err) {
		LOG_WRN("Scanning filters cannot be set (err %d)", err);

		return;
	}

	err = bt_scan_filter_enable(BT_SCAN_UUID_FILTER, false);
	if (err) {
		LOG_WRN("Filters cannot be turned on (err %d)", err);
	}
}

static void notify_location_and_speed_cb(struct bt_lns_client *lns,
				    struct ble_lns_loc_speed_s *lns_data)
{
	char addr[BT_ADDR_LE_STR_LEN];

	bt_addr_le_to_str(bt_conn_get_dst(bt_lns_conn(lns)),
			  addr, sizeof(addr));
	if (lns_data == NULL) {
		LOG_WRN("[%s] Speed and Location notification aborted", addr);
	} else {

		LOG_INF("[%s] Speed and Location notification: Speed: %u, Lat: %d, Long: %d, Ele: %d",
		       addr, 
               lns_data->instant_speed,
               lns_data->latitude,
               lns_data->longitude,
               lns_data->elevation);
	}
}

#if 0
static void read_speed_and_location_cb(struct bt_lns_client *lns,
				  uint16_t flags,
				  int err)
{
	char addr[BT_ADDR_LE_STR_LEN];

	bt_addr_le_to_str(bt_conn_get_dst(bt_lns_conn(lns)),
			  addr, sizeof(addr));
	if (err) {
		LOG_WRN("[%s] Speed and location read ERROR: %d", addr, err);
		return;
	}

	LOG_INF("[%s] Speed and location read: %"PRIu8"%%", addr, flags);
}

static void button_readval(void)
{
	int err;

	LOG_INF("Reading LNS value:");
	err = bt_lns_read_battery_level(&lns, read_speed_and_location_cb);
	if (err) {
		LOG_WRN("LNS read call error: %d", err);
	}
}

static void button_handler(uint32_t button_state, uint32_t has_changed)
{
	uint32_t button = button_state & has_changed;

	if (button & KEY_READVAL_MASK) {
		button_readval();
	}
}
#endif

static void auth_cancel(struct bt_conn *conn)
{
	char addr[BT_ADDR_LE_STR_LEN];

	bt_addr_le_to_str(bt_conn_get_dst(conn), addr, sizeof(addr));

	LOG_WRN("Pairing cancelled: %s", addr);
}


static void pairing_complete(struct bt_conn *conn, bool bonded)
{
	char addr[BT_ADDR_LE_STR_LEN];

	bt_addr_le_to_str(bt_conn_get_dst(conn), addr, sizeof(addr));

	LOG_INF("Pairing completed: %s, bonded: %d", addr, bonded);
}


static void pairing_failed(struct bt_conn *conn, enum bt_security_err reason)
{
	char addr[BT_ADDR_LE_STR_LEN];

	bt_addr_le_to_str(bt_conn_get_dst(conn), addr, sizeof(addr));

	LOG_WRN("Pairing failed conn: %s, reason %d", addr, reason);
}


static struct bt_conn_auth_cb conn_auth_callbacks = {
	.cancel = auth_cancel,
};

static struct bt_conn_auth_info_cb conn_auth_info_callbacks = {
	.pairing_complete = pairing_complete,
	.pairing_failed = pairing_failed
};

int appbluetoothInit(void)
{
    int err;

	LOG_INF("Starting Bluetooth Central LNS example");
    k_msleep(1000);
    
//	bt_lns_client_init(&lns);

	err = bt_enable(NULL);
	if (err) {
		LOG_WRN("Bluetooth init failed (err %d)\n", err);
		return 0;
	}

	LOG_INF("Bluetooth initialized");
    k_msleep(1000);

	if (IS_ENABLED(CONFIG_SETTINGS)) {
		settings_load();
	}

#if 0
	scan_init();

	err = bt_conn_auth_cb_register(&conn_auth_callbacks);
	if (err) {
		LOG_WRN("Failed to register authorization callbacks.");
		return 0;
	}

	err = bt_conn_auth_info_cb_register(&conn_auth_info_callbacks);
	if (err) {
		LOG_WRN("Failed to register authorization info callbacks.");
		return 0;
	}
#endif

	LOG_INF("Bluetooth start scan");
    k_msleep(5000);

#if 1
	err = bt_scan_start(BT_SCAN_TYPE_SCAN_ACTIVE);
	if (err) {
		LOG_WRN("Scanning failed to start (err %d)", err);
		return 0;
	}

	LOG_INF("Scanning successfully started\n");
#endif

	return 0;
}

#endif
```

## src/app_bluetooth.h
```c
#ifndef APP_BLUETOOTH_H_
#define APP_BLUETOOTH_H_

// Includes
#include "bluetooth/lns_client.h"

// Defines

#define LNS_READ_VALUE_INTERVAL 10000

// Prototypes

int appbluetoothInit(void);
struct bt_lns_client *getLNSClient(void);

#endif
```

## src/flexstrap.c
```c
// Includes

#include <stdio.h>
#include <stdbool.h>

#include "flexstrap.h"
#include "leds.h"

#include <zephyr/logging/log.h>
#include <zephyr/drivers/i2c.h>
#include <zephyr/drivers/adc.h>
#include <zephyr/drivers/gpio.h>

// Defines

LOG_MODULE_REGISTER(flexstrap, 4);

#define ZEPHYR_USER_NODE DT_PATH(zephyr_user)

const struct gpio_dt_spec flex_enable = GPIO_DT_SPEC_GET(ZEPHYR_USER_NODE, flex_enable_gpios);
const struct gpio_dt_spec flex_detect = GPIO_DT_SPEC_GET(ZEPHYR_USER_NODE, flex_detect_gpios);

#if NCS_VERSION_NUMBER >= 0x20901

static const struct adc_dt_spec adc_channel = ADC_DT_SPEC_GET(DT_PATH(zephyr_user));

#else

#if !DT_NODE_EXISTS(DT_PATH(zephyr_user)) || \
        !DT_NODE_HAS_PROP(DT_PATH(zephyr_user), io_channels)
#error "No suitable devicetree overlay specified"
#endif

#define DT_SPEC_AND_COMMA(node_id, prop, idx) \
        ADC_DT_SPEC_GET_BY_IDX(node_id, idx),

/* Data of ADC io-channels specified in devicetree. */
static const struct adc_dt_spec adc_channels[] = {
        DT_FOREACH_PROP_ELEM(DT_PATH(zephyr_user), io_channels,
                             DT_SPEC_AND_COMMA)
};

#endif

// Enumerations

EnumTriageStatus _last_triage_status = OFF;

// Statics


// Functions

bool flexStrapInit(void)
{
    int err;

    LOG_DBG("Flex Strap Init");

	if (!gpio_is_ready_dt(&flex_enable)) { 
		LOG_ERR("Flex Enable pin not ready");
	} else {
		if ( gpio_pin_configure_dt(&flex_enable, GPIO_OUTPUT_INACTIVE) < 0 ) {
			LOG_ERR("Can't configure Flex Enable pin");
		} else {
			if ( gpio_pin_set_dt(&flex_enable, 1)  < 0) {
				LOG_ERR("Can't set Flex Enable pin HI");
			}
		}
    }

    if (!gpio_is_ready_dt(&flex_detect)) { 
		LOG_ERR("Flex Detect pin not ready");
	} else {
#ifdef CONFIG_FLEXSTRAP_PULL_DOWN
        LOG_ERR("*** CHANGE THIS FOR FLEX STRAP ENABLED HARDWARE *** Configuring Flex Detect pin with GPIO_PULL_DOWN");
		if ( gpio_pin_configure_dt(&flex_detect, GPIO_INPUT | GPIO_PULL_DOWN) < 0 ) {
#else
    if ( gpio_pin_configure_dt(&flex_detect, GPIO_INPUT) < 0 ) {
#endif
			LOG_ERR("Can't configure Flex Detect pin");
		}
    }

	// Now setup ADC channel
#if NCS_VERSION_NUMBER < 0x20901
	if (!device_is_ready(adc_channels[0].dev)) {
		LOG_ERR("ADC controller device %s not ready", adc_channels[0].dev->name);
	#else
	if (!adc_is_ready_dt(&adc_channel)) {
		LOG_ERR("ADC controller device %s not ready", adc_channel.dev->name);
#endif
		return false;
    }

#if NCS_VERSION_NUMBER < 0x20901
	err = adc_channel_setup_dt(&adc_channels[0]);
#else
	err = adc_channel_setup_dt(&adc_channel);
#endif
	if (err < 0) {
		LOG_ERR("Could not setup channel #%d (%d)", 0, err);
		return false;
    }
    return true;
}

char *getTriageStatusString(EnumTriageStatus status) {
    switch(status) {
        case P3:
            return "P3";
        case P2:
            return "P2";
        case P1:
            return "P1";
        case NB:
            return "NB";
        case DEAD:
            return "DEAD";
        case S1:
            return "S1";
        case S2:
            return "S2";
        case FAULT:
            return "FAULT";
        case UNUSED:
            return "UNUSED";
        case UNKNOWN:
            return "UNKNOWN";
        default:
            return "INVALID";
    }
}

int flexstrap_thread(void)
{
    int err;
	int16_t buf;

	struct adc_sequence sequence = {
		.buffer = &buf,
		/* buffer size in bytes, not number of samples */
		.buffer_size = sizeof(buf),
		//Optional
		//.calibrate = true,
	};

    flexStrapInit();

    // Wait for the main loop to setup
    k_sleep(K_MSEC(5000));

#if NCS_VERSION_NUMBER < 0x20901
	err = adc_sequence_init_dt(&adc_channels[0], &sequence);
#else
	err = adc_sequence_init_dt(&adc_channel, &sequence);
#endif
	if (err < 0) {
		LOG_ERR("Could not initialise sequnce");
		return 0;
	}

	// Main loop
    LOG_DBG("Flex strap reading ADC");
	while(1) 
	{
#ifdef CONFIG_FLEXSTRAP_CONTROLS_POWER
        int pin_state = gpio_pin_get_dt(&flex_detect);
        if(pin_state == 1) {
            _last_triage_status = OFF;
            LOG_INF("Flex Detect pin is HI - Flex not strapped on - Waiting 5s");
            k_sleep(K_MSEC(5000));
            continue;
        }
#endif

#if NCS_VERSION_NUMBER < 0x20901
		err = adc_read(adc_channels[0].dev, &sequence);
#else
		err = adc_read(adc_channel.dev, &sequence);
#endif
		if (err < 0) {
			LOG_ERR("Could not read (%d)", err);
			continue;
		}

		int32_t val_mv = buf;
		err = adc_raw_to_millivolts	(	600, ADC_GAIN_1_3, 12, &val_mv);
		if (err < 0) {
			LOG_WRN(" (value in mV not available)\n");
		} else {
//			LOG_INF(" = %d mV", val_mv);
		}

        EnumTriageStatus triage_status = UNKNOWN;

		/* 
			< 460 mV there's possibly a fault with the flexi - FAULT

			>= 460 mV < 570 mV       no cuts	-	P3
			>= 570 mV < 701 mV       1 cut		-	P2
			>= 701 mV < 858 mV       2 cuts		-	P1
			>= 858 mV < 1049 mV      3 cuts		-	NB
			>= 1049 mV < 1282 mV     4 cuts		-	DEAD
			>= 1282 mV < 1594 mV     5 cuts		-	S1
			>= 1594 mV               6 cuts		-	S2
		*/
		if(val_mv < 460) {
			triage_status = FAULT;
		} else if(val_mv >= 460 && val_mv < 570) {
			triage_status = P3;
		} else if(val_mv >= 570 && val_mv < 701) {
			triage_status = P2;
		} else if(val_mv >= 701 && val_mv < 858) {
			triage_status = P1;
		} else if(val_mv >= 858 && val_mv < 1049) {
			triage_status = NB;
		} else if(val_mv >= 1049 && val_mv < 1282) {
			triage_status = DEAD;
		} else if(val_mv >= 1282 && val_mv < 1594) {
			triage_status = S1;
		} else if(val_mv >= 1594) {
			triage_status = S2;
		}

        if(triage_status != _last_triage_status) {

            LOG_INF("Triage Status changed to %s (code: %d, raw: %d, mv: %d)", getTriageStatusString(triage_status), triage_status, buf, val_mv);

            _last_triage_status = triage_status;

            switch(triage_status) {
                case P3:
                    // Green
                    LOG_DBG("- setting LED to SLOW Green");
                    ledBlink(GREEN, LED_BLINK_SLOW, DUTY_10_PERCENT, BLINK_CYCLES_FOREVER);
                    break;
                case P2:
                    // Yellow
                    LOG_DBG("- setting LED to SLOW Yellow");
                    ledBlink(YELLOW, LED_BLINK_SLOW, DUTY_10_PERCENT, BLINK_CYCLES_FOREVER);
                    break;
                case P1:
                    // Red
                    LOG_DBG("- setting LED to SLOW Red");
                    ledBlink(RED, LED_BLINK_SLOW, DUTY_10_PERCENT, BLINK_CYCLES_FOREVER);
                    break;
                case NB:
                    // Purple
                    LOG_DBG("- setting LED to SLOW PURPLE");
                    ledBlink(PURPLE, LED_BLINK_SLOW, DUTY_10_PERCENT, BLINK_CYCLES_FOREVER);
                    break;
                case DEAD:
                    // White
                    LOG_DBG("- setting LED to SLOW WHITE");
                    ledBlink(WHITE, LED_BLINK_SLOW, DUTY_10_PERCENT, BLINK_CYCLES_FOREVER);
                    break;
                case S1:
                    // White
//                    LOG_DBG("- setting LED to FAST White");
//                    ledBlink(WHITE, LED_BLINK_FAST, DUTY_10_PERCENT, BLINK_CYCLES_FOREVER);
//                    break;
                case S2:
                    // White
//                    LOG_DBG("- setting LED to FAST White");
//                    ledBlink(WHITE, LED_BLINK_FAST, DUTY_10_PERCENT, BLINK_CYCLES_FOREVER);
                    break;
                case FAULT:
                    // Flash Red
                    LOG_DBG("- setting LED to FAST RED");
                    ledBlink(RED, LED_BLINK_FAST, DUTY_10_PERCENT, BLINK_CYCLES_FOREVER);
                    break;
                case UNUSED:
                    // Flash Red
                    LOG_DBG("- setting LED to FAST RED");
                    ledBlink(RED, LED_BLINK_FAST, DUTY_10_PERCENT, BLINK_CYCLES_FOREVER);
                    break;
                case UNKNOWN:
                    // Flash Red
                    LOG_DBG("- setting LED to FAST RED");
                    ledBlink(RED, LED_BLINK_FAST, DUTY_10_PERCENT, BLINK_CYCLES_FOREVER);
                    break;
                default:
                    // Flash Red
                    LOG_DBG("- setting LED to FAST RED");
                    ledBlink(RED, LED_BLINK_FAST, DUTY_10_PERCENT, BLINK_CYCLES_FOREVER);
                    break;
            }
        }

		k_sleep(K_MSEC(5000));
	}

    return 0;
}

K_THREAD_DEFINE(flexstrap_id, 4096, flexstrap_thread, NULL, NULL, NULL, 7, 0, 0);
```

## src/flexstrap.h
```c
#ifndef FLEXSTRAP_H_
#define FLEXSTRAP_H_

// Includes

#include <stdio.h>
#include <stdint.h>

// Defines

// Enumerations

enum TriageStatus {
    P3 = 0,
    P2 = 1,
    P1 = 2,
    NB = 3,
    DEAD = 4,
    S1 = 5,
    S2 = 6,

    FAULT = 0x80,
    UNUSED = 0x81,
    OFF = 0x82,
    UNKNOWN = 0xFF,
};
typedef enum TriageStatus EnumTriageStatus;

// Functions
bool flexStrapInit(void);

#endif
```

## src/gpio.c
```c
#include "gpio.h"

// Includes
#include <zephyr/logging/log.h>

// Definitions

// Protototypes

// Globals

static const struct gpio_dt_spec led_yellow = GPIO_DT_SPEC_GET(LED_NODE_YELLOW, gpios);
static const struct gpio_dt_spec led_red = GPIO_DT_SPEC_GET(LED_NODE_RED, gpios);
static const struct gpio_dt_spec led_blue = GPIO_DT_SPEC_GET(LED_NODE_BLUE, gpios);
static const struct gpio_dt_spec led_green = GPIO_DT_SPEC_GET(LED_NODE_GREEN, gpios);

// Functions
LOG_MODULE_REGISTER(gpio, CONFIG_GPIO_LOG_LEVEL);

void otLedSetOff(uint8_t aLed) {
    int err = 0;
	switch (aLed) {
        case LED_YELLOW:
            err = gpio_pin_configure_dt(&led_yellow, GPIO_OUTPUT_INACTIVE);
            break;
        case LED_RED:
            err = gpio_pin_configure_dt(&led_red, GPIO_OUTPUT_INACTIVE);
            break;
        case LED_BLUE:
            err = gpio_pin_configure_dt(&led_blue, GPIO_OUTPUT_INACTIVE);
            break;
        case LED_GREEN:
            err = gpio_pin_configure_dt(&led_green, GPIO_OUTPUT_INACTIVE);
            break;
    }
	if (err < 0) {
		LOG_WRN("LED set OFF failed");
	}

}

void otLedSetOn(uint8_t aLed) {
	int err = 0;
	switch (aLed) {
        case LED_YELLOW:
            err = gpio_pin_configure_dt(&led_yellow, GPIO_OUTPUT_ACTIVE);
            break;
        case LED_RED:
            err = gpio_pin_configure_dt(&led_red, GPIO_OUTPUT_ACTIVE);
            break;
        case LED_BLUE:
            err = gpio_pin_configure_dt(&led_blue, GPIO_OUTPUT_ACTIVE);
            break;
        case LED_GREEN:
            err = gpio_pin_configure_dt(&led_green, GPIO_OUTPUT_ACTIVE);
            break;
    }
	if (err < 0) {
		LOG_WRN("LED set ON failed");
	}
}

void otLedToggle(uint8_t aLed) {
	int err = 0;
	switch (aLed) {
        case LED_YELLOW:
            err = gpio_pin_toggle_dt(&led_yellow);
            break;
        case LED_RED:
            err = gpio_pin_toggle_dt(&led_red);
            break;
        case LED_BLUE:
            err = gpio_pin_toggle_dt(&led_blue);
            break;
        case LED_GREEN:
            err = gpio_pin_toggle_dt(&led_green);
            break;
    }
	if (err < 0) {
		LOG_WRN("LED toggle failed");
	}
}

void otLedRoleIndicator(otDeviceRole role) {
    switch (role)
    {
        case OT_DEVICE_ROLE_LEADER:
            otLedSetOff(LED_BLUE);
            otLedSetOff(LED_GREEN);
            otLedSetOn(LED_RED);
            break;
        case OT_DEVICE_ROLE_ROUTER:
            otLedSetOff(LED_RED);
            otLedSetOff(LED_GREEN);
            otLedSetOn(LED_BLUE);
            break;
        case OT_DEVICE_ROLE_CHILD:
            otLedSetOff(LED_RED);
            otLedSetOff(LED_BLUE);
            otLedSetOn(LED_GREEN);
            break;
        case OT_DEVICE_ROLE_DETACHED:
        case OT_DEVICE_ROLE_DISABLED:
            otLedSetOn(LED_RED);
            otLedSetOn(LED_BLUE);
            otLedSetOn(LED_GREEN);
            break;
    }
}

void otLedInit(void) {
    if (!gpio_is_ready_dt(&led_yellow)) { LOG_WRN("GPIO port validation failed."); }
    if (!gpio_is_ready_dt(&led_red)) { LOG_WRN("GPIO port validation failed."); }
    if (!gpio_is_ready_dt(&led_blue)) { LOG_WRN("GPIO port validation failed."); }
    if (!gpio_is_ready_dt(&led_green)) { LOG_WRN("GPIO port validation failed."); }
	
    otLedSetOff(LED_YELLOW);
    otLedSetOff(LED_RED);
    otLedSetOff(LED_BLUE);
    otLedSetOff(LED_GREEN);
}
```

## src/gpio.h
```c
#ifndef GPIO_H_

// Includes

#include <zephyr/kernel.h>
#include <zephyr/drivers/gpio.h>

#include "openthread/instance.h"
#include "openthread/thread.h"

// Definitions

#define LED_YELLOW 1
#define LED_RED 2
#define LED_BLUE 3
#define LED_GREEN 4

/* The devicetree node identifier for the "led" alias. */
#if DT_NODE_EXISTS(DT_ALIAS(led0))
#define LED_NODE_YELLOW DT_ALIAS(led0)
#else
#define LED_NODE_YELLOW DT_INVALID_NODE
#endif

#if DT_NODE_EXISTS(DT_ALIAS(led1_red))
#define LED_NODE_RED DT_ALIAS(led1_red)
#elif DT_NODE_EXISTS(DT_ALIAS(led1))
#define LED_NODE_RED DT_ALIAS(led1)
#else
#define LED_NODE_RED DT_INVALID_NODE
#endif

#if DT_NODE_EXISTS(DT_ALIAS(led1_blue))
#define LED_NODE_BLUE DT_ALIAS(led1_blue)
#elif DT_NODE_EXISTS(DT_ALIAS(led2))
#define LED_NODE_BLUE DT_ALIAS(led2)
#else
#define LED_NODE_BLUE DT_INVALID_NODE
#endif

#if DT_NODE_EXISTS(DT_ALIAS(led1_green))
#define LED_NODE_GREEN DT_ALIAS(led1_green)
#elif DT_NODE_EXISTS(DT_ALIAS(led3))
#define LED_NODE_GREEN DT_ALIAS(led3)
#else
#define LED_NODE_GREEN DT_INVALID_NODE
#endif

// Prototypes

void otLedInit(void);
void otLedSetOff(uint8_t aLed);
void otLedSetOn(uint8_t aLed);
void otLedToggle(uint8_t aLed);
void otLedRoleIndicator(otDeviceRole role);

#endif
```

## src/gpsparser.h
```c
#ifndef GPS_PARSER_H
#define GPS_PARSER_H

#include "minmea.h"

typedef void (*RmcHandler)(int fix_type, float latitude, float longitude, float altitude);

void set_callback_rmc(RmcHandler handler);

/* 
    Returns a copy of the last GNSS GGA sentence we received
*/
bool get_last_gnss_gga(const struct minmea_sentence_gga *ptr_minmea_sentence_gga);

/* 
    Returns a copy of the last GNSS GST sentence we received
*/
bool get_last_gnss_gst(const struct minmea_sentence_gst *ptr_minmea_sentence_gst);

/* 
    Returns a copy of the last GNSS RMC sentence we received
*/
bool get_last_gnss_rmc(const struct minmea_sentence_rmc *ptr_minmea_sentence_rmc);

#endif
```
